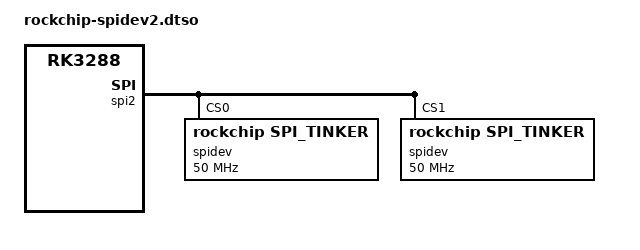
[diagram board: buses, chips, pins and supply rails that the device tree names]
/* Definition for SPI2 Spidev
 * spi port for Tinker Board
 */

/dts-v1/;
/plugin/;

/ {
	compatible = "rockchip,rk3288";
};

&spi2 {
	#address-cells = <1>;
	#size-cells = <0>;

	spidev@0 {
		compatible = "rockchip,spi_tinker";
		reg = <0>;
		spi-max-frequency = <50000000>;
		spi-cpha = <1>;
		status = "okay";
	};

	spidev@1 {
		compatible = "rockchip,spi_tinker";
		reg = <1>;
		spi-max-frequency = <50000000>;
		spi-cpha = <1>;
		status = "okay";
	};
};
